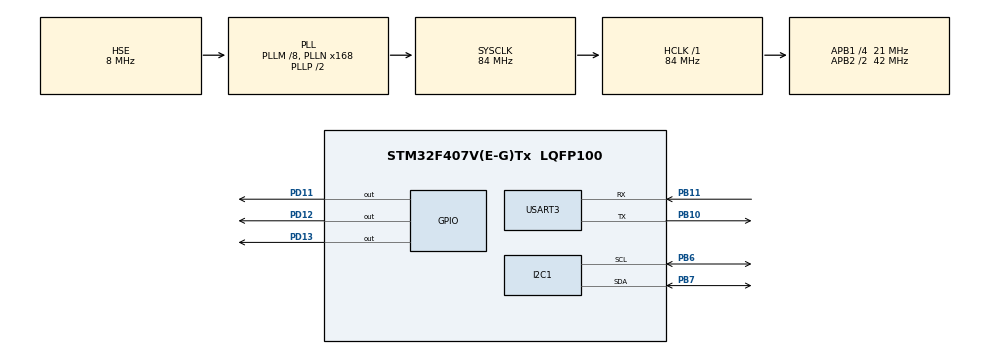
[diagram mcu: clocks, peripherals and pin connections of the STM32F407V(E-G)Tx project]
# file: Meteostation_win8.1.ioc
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FREERTOS.BinarySemaphores01=myBinarySem01,Dynamic,NULL
FREERTOS.Queues01=myQueue01,16,uint16_t,0,Dynamic,NULL,NULL;USART_Queue,16,uint16_t,0,Dynamic,NULL,NULL
FREERTOS.Tasks01=task_i2c,0,256,StartDefaultTask,Default,NULL,Dynamic,NULL,NULL;task_uart,-3,256,StartTask02,Default,NULL,Dynamic,NULL,NULL;myTask03,-3,256,StartTask03,Default,NULL,Dynamic,NULL,NULL
FREERTOS.configMINIMAL_STACK_SIZE=256
Mcu.Family=STM32F4
Mcu.Name=STM32F407V(E-G)Tx
Mcu.Package=LQFP100
NVIC.PriorityGroup=NVIC_PRIORITYGROUP_4
NVIC.TIM1_UP_TIM10_IRQn=true\:0\:0\:false\:false\:true\:false\:false
NVIC.TimeBase=TIM1_UP_TIM10_IRQn
NVIC.TimeBaseIP=TIM1
NVIC.USART3_IRQn=true\:5\:0\:false\:false\:true\:true\:true
PA13.Mode=Serial_Wire
PA13.Signal=SYS_JTMS-SWDIO
PA14.Mode=Serial_Wire
PA14.Signal=SYS_JTCK-SWCLK
PB10.Mode=Asynchronous
PB10.Signal=USART3_TX
PB11.Mode=Asynchronous
PB11.Signal=USART3_RX
PB6.Mode=I2C
PB6.Signal=I2C1_SCL
PB7.Mode=I2C
PB7.Signal=I2C1_SDA
PD11.Signal=GPIO_Output
PD12.Signal=GPIO_Output
PD13.Signal=GPIO_Output
PH0-OSC_IN.Mode=HSE-External-Clock-Source
PH0-OSC_IN.Signal=RCC_OSC_IN
PH1-OSC_OUT.Mode=HSE-External-Clock-Source
PH1-OSC_OUT.Signal=RCC_OSC_OUT
ProjectManager.HeapSize=0x200
ProjectManager.StackSize=0x400
ProjectManager.TargetToolchain=MDK-ARM V5
RCC.48MHZClocksFreq_Value=42000000
RCC.AHBFreq_Value=84000000
RCC.APB1CLKDivider=RCC_HCLK_DIV4
RCC.APB1Freq_Value=21000000
RCC.APB1TimFreq_Value=42000000
RCC.APB2CLKDivider=RCC_HCLK_DIV2
RCC.APB2Freq_Value=42000000
RCC.APB2TimFreq_Value=84000000
RCC.CortexFreq_Value=84000000
RCC.HCLKFreq_Value=84000000
RCC.HSE_VALUE=8000000
RCC.HSI_VALUE=16000000
RCC.LSE_VALUE=32768
RCC.PLLM=8
RCC.PLLN=168
RCC.PLLSourceVirtual=RCC_PLLSOURCE_HSE
RCC.SYSCLKFreq_VALUE=84000000
RCC.SYSCLKSource=RCC_SYSCLKSOURCE_PLLCLK
RCC.VCOOutputFreq_Value=168000000
USART3.VirtualMode=VM_ASYNC
VP_FREERTOS_VS_ENABLE.Mode=Enabled
VP_SYS_VS_tim1.Mode=TIM1
board=custom

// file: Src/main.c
/**
  ******************************************************************************
  * @file           : main.c
  * @brief          : Main program body
  ******************************************************************************
  * This notice applies to any and all portions of this file
  * that are not between comment pairs USER CODE BEGIN and
  * USER CODE END. Other portions of this file, whether
  * inserted by the user or by software development tools
  * are owned by their respective copyright owners.
  *
  * Copyright (c) 2018 STMicroelectronics International N.V.
  * All rights reserved.
  *
  * Redistribution and use in source and binary forms, with or without
  * modification, are permitted, provided that the following conditions are met:
  *
  * 1. Redistribution of source code must retain the above copyright notice,
  *    this list of conditions and the following disclaimer.
  * 2. Redistributions in binary form must reproduce the above copyright notice,
  *    this list of conditions and the following disclaimer in the documentation
  *    and/or other materials provided with the distribution.
  * 3. Neither the name of STMicroelectronics nor the names of other
  *    contributors to this software may be used to endorse or promote products
  *    derived from this software without specific written permission.
  * 4. This software, including modifications and/or derivative works of this
  *    software, must execute solely and exclusively on microcontroller or
  *    microprocessor devices manufactured by or for STMicroelectronics.
  * 5. Redistribution and use of this software other than as permitted under
  *    this license is void and will automatically terminate your rights under
  *    this license.
  *
  * THIS SOFTWARE IS PROVIDED BY STMICROELECTRONICS AND CONTRIBUTORS "AS IS"
  * AND ANY EXPRESS, IMPLIED OR STATUTORY WARRANTIES, INCLUDING, BUT NOT
  * LIMITED TO, THE IMPLIED WARRANTIES OF MERCHANTABILITY, FITNESS FOR A
  * PARTICULAR PURPOSE AND NON-INFRINGEMENT OF THIRD PARTY INTELLECTUAL PROPERTY
  * RIGHTS ARE DISCLAIMED TO THE FULLEST EXTENT PERMITTED BY LAW. IN NO EVENT
  * SHALL STMICROELECTRONICS OR CONTRIBUTORS BE LIABLE FOR ANY DIRECT, INDIRECT,
  * INCIDENTAL, SPECIAL, EXEMPLARY, OR CONSEQUENTIAL DAMAGES (INCLUDING, BUT NOT
  * LIMITED TO, PROCUREMENT OF SUBSTITUTE GOODS OR SERVICES; LOSS OF USE, DATA,
  * OR PROFITS; OR BUSINESS INTERRUPTION) HOWEVER CAUSED AND ON ANY THEORY OF
  * LIABILITY, WHETHER IN CONTRACT, STRICT LIABILITY, OR TORT (INCLUDING
  * NEGLIGENCE OR OTHERWISE) ARISING IN ANY WAY OUT OF THE USE OF THIS SOFTWARE,
  * EVEN IF ADVISED OF THE POSSIBILITY OF SUCH DAMAGE.
  *
  ******************************************************************************
  */
#include "main.h"
#include "stm32f4xx_hal.h"
#include "cmsis_os.h"

/* USER CODE BEGIN Includes */
#include "locator.h"
#include "AT_commands.h"
#include "AT_init.h"

/* USER CODE END Includes */

I2C_HandleTypeDef hi2c1;

UART_HandleTypeDef huart3;

osThreadId task_i2cHandle;
osThreadId task_uartHandle;
osThreadId myTask03Handle;
osMessageQId myQueue01Handle;
osMessageQId USART_QueueHandle;
osSemaphoreId myBinarySem01Handle;

/* USER CODE BEGIN PV */
/* Private variables ---------------------------------------------------------*/
typedef struct struct_arg_t {

  uint8_t info1[2];
	uint8_t info2;

} struct_arg;
struct_arg arg01;
#define QUEUE_SIZE (uint32_t) 2
uint8_t address = 8;
uint8_t buf_usart[40];

/* USER CODE END PV */

void SystemClock_Config(void);
static void MX_GPIO_Init(void);
static void MX_USART3_UART_Init(void);
static void MX_I2C1_Init(void);
void StartDefaultTask(void const * argument);
void StartTask02(void const * argument);
void StartTask03(void const * argument);

/* USER CODE BEGIN PFP */
/* Private function prototypes -----------------------------------------------*/

/* USER CODE END PFP */

int main(void)
{

  /* MCU Configuration----------------------------------------------------------*/

  /* Reset of all peripherals, Initializes the Flash interface and the Systick. */
  HAL_Init();

  /* Configure the system clock */
  SystemClock_Config();

  /* Initialize all configured peripherals */
  MX_GPIO_Init();
  MX_USART3_UART_Init();
  MX_I2C1_Init();
  /* USER CODE BEGIN 2 */
	HAL_Delay(100);
	AT_AP_mode_init();

  /* USER CODE END 2 */

  /* Create the semaphores(s) */
  /* definition and creation of myBinarySem01 */
  osSemaphoreDef(myBinarySem01);
  myBinarySem01Handle = osSemaphoreCreate(osSemaphore(myBinarySem01), 1);

  /* Create the thread(s) */
  /* definition and creation of task_i2c */
  osThreadDef(task_i2c, StartDefaultTask, osPriorityNormal, 0, 128);
  task_i2cHandle = osThreadCreate(osThread(task_i2c), NULL);

  /* definition and creation of task_uart */
  osThreadDef(task_uart, StartTask02, osPriorityIdle, 0, 128);
  task_uartHandle = osThreadCreate(osThread(task_uart), NULL);

  /* definition and creation of myTask03 */
  osThreadDef(myTask03, StartTask03, osPriorityIdle, 0, 256);
  myTask03Handle = osThreadCreate(osThread(myTask03), NULL);

  /* Create the queue(s) */
  /* definition and creation of myQueue01 */
/* what about the sizeof here??? cd native code */
  osMessageQDef(myQueue01, 16, uint16_t);
  myQueue01Handle = osMessageCreate(osMessageQ(myQueue01), NULL);

  /* definition and creation of USART_Queue */
/* what about the sizeof here??? cd native code */
  //osMessageQDef(USART_Queue, 16, uint16_t);
 // USART_QueueHandle = osMessageCreate(osMessageQ(USART_Queue), NULL);

  /* Start scheduler */
  osKernelStart();

  /* We should never get here as control is now taken by the scheduler */

  /* Infinite loop */
  while (1)
  {

  }

}

void SystemClock_Config(void)
{

  RCC_OscInitTypeDef RCC_OscInitStruct;
  RCC_ClkInitTypeDef RCC_ClkInitStruct;

    /**Configure the main internal regulator output voltage
    */
  __HAL_RCC_PWR_CLK_ENABLE();

  __HAL_PWR_VOLTAGESCALING_CONFIG(PWR_REGULATOR_VOLTAGE_SCALE1);

    /**Initializes the CPU, AHB and APB busses clocks
    */
  RCC_OscInitStruct.OscillatorType = RCC_OSCILLATORTYPE_HSE;
  RCC_OscInitStruct.HSEState = RCC_HSE_BYPASS;
  RCC_OscInitStruct.PLL.PLLState = RCC_PLL_ON;
  RCC_OscInitStruct.PLL.PLLSource = RCC_PLLSOURCE_HSE;
  RCC_OscInitStruct.PLL.PLLM = 8;
  RCC_OscInitStruct.PLL.PLLN = 168;
  RCC_OscInitStruct.PLL.PLLP = RCC_PLLP_DIV2;
  RCC_OscInitStruct.PLL.PLLQ = 4;
  if (HAL_RCC_OscConfig(&RCC_OscInitStruct) != HAL_OK)
  {
    _Error_Handler(__FILE__, __LINE__);
  }

    /**Initializes the CPU, AHB and APB busses clocks
    */
  RCC_ClkInitStruct.ClockType = RCC_CLOCKTYPE_HCLK|RCC_CLOCKTYPE_SYSCLK
                              |RCC_CLOCKTYPE_PCLK1|RCC_CLOCKTYPE_PCLK2;
  RCC_ClkInitStruct.SYSCLKSource = RCC_SYSCLKSOURCE_PLLCLK;
  RCC_ClkInitStruct.AHBCLKDivider = RCC_SYSCLK_DIV1;
  RCC_ClkInitStruct.APB1CLKDivider = RCC_HCLK_DIV4;
  RCC_ClkInitStruct.APB2CLKDivider = RCC_HCLK_DIV2;

  if (HAL_RCC_ClockConfig(&RCC_ClkInitStruct, FLASH_LATENCY_2) != HAL_OK)
  {
    _Error_Handler(__FILE__, __LINE__);
  }

    /**Configure the Systick interrupt time
    */
  HAL_SYSTICK_Config(HAL_RCC_GetHCLKFreq()/1000);

    /**Configure the Systick
    */
  HAL_SYSTICK_CLKSourceConfig(SYSTICK_CLKSOURCE_HCLK);

  /* SysTick_IRQn interrupt configuration */
  HAL_NVIC_SetPriority(SysTick_IRQn, 15, 0);
}

/* I2C1 init function */
static void MX_I2C1_Init(void)
{

  hi2c1.Instance = I2C1;
  hi2c1.Init.ClockSpeed = 100000;
  hi2c1.Init.DutyCycle = I2C_DUTYCYCLE_2;
  hi2c1.Init.OwnAddress1 = 0;
  hi2c1.Init.AddressingMode = I2C_ADDRESSINGMODE_7BIT;
  hi2c1.Init.DualAddressMode = I2C_DUALADDRESS_DISABLE;
  hi2c1.Init.OwnAddress2 = 0;
  hi2c1.Init.GeneralCallMode = I2C_GENERALCALL_DISABLE;
  hi2c1.Init.NoStretchMode = I2C_NOSTRETCH_DISABLE;
  if (HAL_I2C_Init(&hi2c1) != HAL_OK)
  {
    _Error_Handler(__FILE__, __LINE__);
  }

}

/* USART3 init function */
static void MX_USART3_UART_Init(void)
{

  huart3.Instance = USART3;
  huart3.Init.BaudRate = 115200;
  huart3.Init.WordLength = UART_WORDLENGTH_8B;
  huart3.Init.StopBits = UART_STOPBITS_1;
  huart3.Init.Parity = UART_PARITY_NONE;
  huart3.Init.Mode = UART_MODE_TX_RX;
  huart3.Init.HwFlowCtl = UART_HWCONTROL_NONE;
  huart3.Init.OverSampling = UART_OVERSAMPLING_16;
  if (HAL_UART_Init(&huart3) != HAL_OK)
  {
    _Error_Handler(__FILE__, __LINE__);
  }

}

/** Configure pins as
        * Analog
        * Input
        * Output
        * EVENT_OUT
        * EXTI
*/
static void MX_GPIO_Init(void)
{

  GPIO_InitTypeDef GPIO_InitStruct;

  /* GPIO Ports Clock Enable */
  __HAL_RCC_GPIOH_CLK_ENABLE();
  __HAL_RCC_GPIOB_CLK_ENABLE();
  __HAL_RCC_GPIOD_CLK_ENABLE();
  __HAL_RCC_GPIOA_CLK_ENABLE();

  /*Configure GPIO pin Output Level */
  HAL_GPIO_WritePin(GPIOD, GPIO_PIN_11|GPIO_PIN_12|GPIO_PIN_13, GPIO_PIN_RESET);

  /*Configure GPIO pins : PD11 PD12 PD13 */
  GPIO_InitStruct.Pin = GPIO_PIN_11|GPIO_PIN_12|GPIO_PIN_13;
  GPIO_InitStruct.Mode = GPIO_MODE_OUTPUT_PP;
  GPIO_InitStruct.Pull = GPIO_NOPULL;
  GPIO_InitStruct.Speed = GPIO_SPEED_FREQ_LOW;
  HAL_GPIO_Init(GPIOD, &GPIO_InitStruct);

}

/* USER CODE BEGIN 4 */
void HAL_UART_RxCpltCallback(UART_HandleTypeDef *huart)

{
	if(huart==&huart3)

  {

    //osMessagePut(USART_QueueHandle, buf_usart[10], 100);
		//HAL_GPIO_TogglePin(GPIOD, GPIO_PIN_13);
		//HAL_UART_Transmit(&huart3,(uint8_t*)buf_usart,2,10);
		HAL_UART_Receive_IT(&huart3, (uint8_t*)buf_usart,40);

  }
}
/* USER CODE END 4 */

/* StartDefaultTask function */
void StartDefaultTask(void const * argument)
{

  /* USER CODE BEGIN 5 */
  /* Infinite loop */

	struct_arg *arg;
  arg = (struct_arg*) argument;

	//HAL_UART_Receive_IT(&huart3, (uint8_t*)buf_usart,2);
	//uint8_t counter = 0;
  for(;;)
  {

		//counter++;

			uint8_t tmp_sensor[2] = {0,0};
			I2C_start_metering(address);
		  //osDelay(100);
		  I2C_get_data (address, &tmp_sensor[0], 2);
			/*if (tmp_sensor[0] != 0){
				osSignalSet(StartTask02, 0x01);
			}
			*/
			osMessagePut(myQueue01Handle,tmp_sensor[0],100);
		//}
			osDelay(1);

  }
  /* USER CODE END 5 */
}

/* StartTask02 function */
void StartTask02(void const * argument)
{
  /* USER CODE BEGIN StartTask02 */
  /* Infinite loop */
	osEvent event1;
	//osEvent event;
  for(;;)
  {
			osDelay(100);
			//HAL_GPIO_TogglePin(GPIOD, GPIO_PIN_12);
			event1 = osMessageGet(myQueue01Handle, osWaitForever);
			//event = osSignalWait(0x01, osWaitForever);

			//if(event.value.signals == 0x01){
			if(event1.status == osEventMessage)
			{

			uint8_t tmp = event1.value.v;
			uint8_t *ptr = &tmp;

			//HAL_UART_Transmit(&huart3, ptr, 1, 100);
				//HAL_GPIO_TogglePin(GPIOD, GPIO_PIN_12);

			}
			//}
    osDelay(1000);
  }
  /* USER CODE END StartTask02 */
}

/* StartTask03 function */
void StartTask03(void const * argument)
{
  /* USER CODE BEGIN StartTask03 */

  /* Infinite loop */
  for(;;)
  {

		//HAL_GPIO_TogglePin(GPIOD, GPIO_PIN_12);

		//HAL_UART_Transmit(&huart3,AT.AT, sizeof(AT.AT),100);

    osDelay(1);
  }
  /* USER CODE END StartTask03 */
}

void HAL_TIM_PeriodElapsedCallback(TIM_HandleTypeDef *htim)
{
  if (htim->Instance == TIM1) {
    HAL_IncTick();
  }
}

void _Error_Handler(char *file, int line)
{
  while(1)
  {
  }
}

/************************ (C) COPYRIGHT STMicroelectronics *****END OF FILE****/
